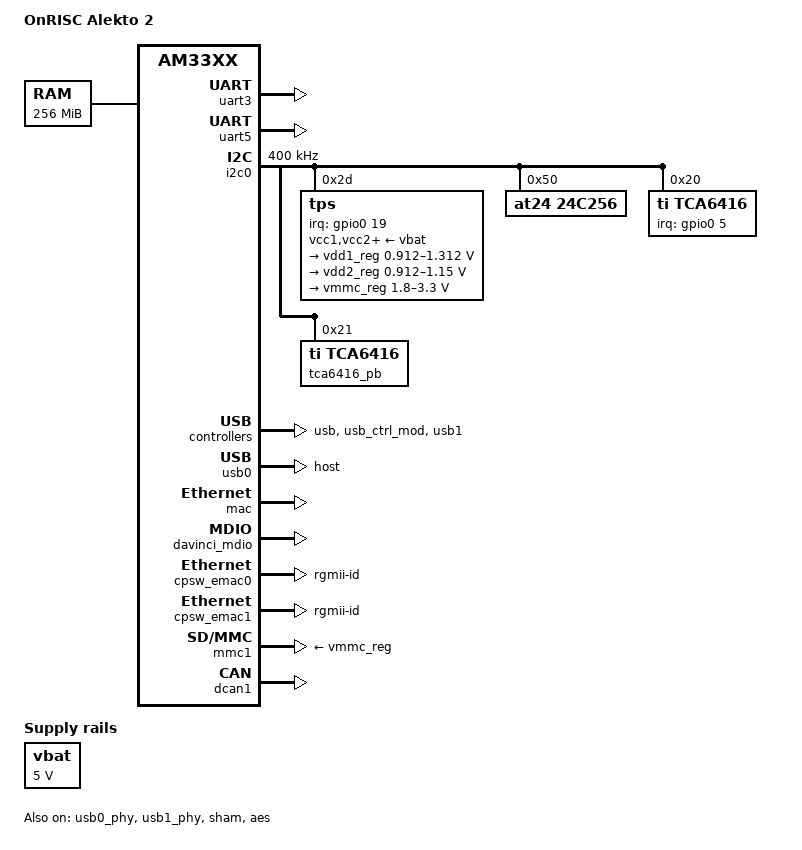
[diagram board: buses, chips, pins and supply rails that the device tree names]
/*
 * Copyright (C) 2012 Texas Instruments Incorporated - http://www.ti.com/
 *
 * This program is free software; you can redistribute it and/or modify
 * it under the terms of the GNU General Public License version 2 as
 * published by the Free Software Foundation.
 */

/*
 * OnRISC
 * http://www.vscom.de
 */

/dts-v1/;

#include "am33xx.dtsi"
#include <dt-bindings/pwm/pwm.h>

/ {
	model = "OnRISC Alekto 2";
	compatible = "vscom,onrisc", "ti,am33xx";

	cpus {
		cpu@0 {
			cpu0-supply = <&vdd1_reg>;
		};
	};

	memory {
		device_type = "memory";
		reg = <0x80000000 0x10000000>; /* 256 MB */
	};

	vbat: fixedregulator@0 {
		compatible = "regulator-fixed";
		regulator-name = "vbat";
		regulator-min-microvolt = <5000000>;
		regulator-max-microvolt = <5000000>;
		regulator-boot-on;
	};

};

&am33xx_pinmux {
        tca6416_pins: pinmux_tca6416_pins {
                pinctrl-single,pins = <
                        0x15c (PIN_INPUT_PULLUP | MUX_MODE7)      /* spi0_cs0.gpio0[5] tca6416 IRQ line */
                >;
        };

	tps65910_pins: pinmux_tps65910_pins {
		pinctrl-single,pins = <
			0x1b0 (PIN_INPUT_PULLUP | MUX_MODE7)      /* xdma_event_intr0.gpio0[19] */
		>;
	};

	i2c0_pins: pinmux_i2c0_pins {
		pinctrl-single,pins = <
			0x188 (PIN_INPUT_PULLUP | MUX_MODE0)	/* i2c0_sda.i2c0_sda */
			0x18c (PIN_INPUT_PULLUP | MUX_MODE0)	/* i2c0_scl.i2c0_scl */
		>;
	};

	i2c1_pins: pinmux_i2c1_pins {
		pinctrl-single,pins = <
			0x180 0x2b	/* uart1_rxd.i2c1_sda_mux2, INPUT | MODE3 */
			0x184 0x2b	/* uart1_txd.i2c1_scl_mux2, INPUT | MODE3 */
		>;
	};

	i2c2_pins: pinmux_i2c2_pins {
		pinctrl-single,pins = <
			0x178 0x2b	/* uart1_ctsn.i2c2_sda_mux0, INPUT | MODE3 */
			0x17c 0x2b	/* uart1_rtsn.i2c2_scl_mux0, INPUT | MODE3 */
		>;
	};

	dcan1_pins: pinmux_dcan1_pins {
		pinctrl-single,pins = <
			0x168 0x0a      /* uart0_ctsn.dcan1_tx_mux0, OUTPUT | MODE2 */
			0x16c 0x2a      /* uart0_rtsn.dcan1_rx_mux0, INPUT | MODE2 */
		>;
	};

	uart3_pins: pinmux_uart3_pins {
		pinctrl-single,pins = <
			0x160 0x29	/* spi0_cs1.uart3_rxd_mux1, INPUT | MODE1 */
			0x164 0x09	/* ecap0_in_pwm0_out.uart3_txd_mux1, OUTPUT | MODE1 */
		>;
	};

	uart5_pins: pinmux_uart5_pins {
		pinctrl-single,pins = <
			0x144 0x03	/* rmii1_ref_clk.uart5_txd_mux0, OUTPUT_PULLDOWN | MODE3 */
			0x108 0x23	/* mii1_col.uart5_rxd_mux0, INPUT_PULLDOWN | MODE3 */
			0x110 0x05	/* mii1_rx_er.uart5_rtsn_mux2, OUTPUT_PULLDOWN | MODE5 */
			0x10c 0x25	/* mii1_crs.uart5_ctsn_mux2, INPUT_PULLDOWN | MODE5 */
		>;
	};

	usb0_pins: pinmux_usb0_pins {
		pinctrl-single,pins = <
			0x21c 0x00	/* usb0_drvvbus, OUTPUT_PULLDOWN | MODE0 */
		>;
	};

	usb1_pins: pinmux_usb1_pins {
		pinctrl-single,pins = <
			0x234 0x00	/* usb1_drvvbus, OUTPUT_PULLDOWN | MODE0 */
		>;
	};

	cpsw_default: cpsw_default {
		pinctrl-single,pins = <
			/* Slave 1 */
			0x114 (PIN_OUTPUT_PULLDOWN | MUX_MODE2)	/* mii1_txen.rgmii1_tctl */
			0x118 (PIN_INPUT_PULLDOWN | MUX_MODE2)	/* mii1_rxdv.rgmii1_rctl */
			0x11c (PIN_OUTPUT_PULLDOWN | MUX_MODE2)	/* mii1_txd3.rgmii1_td3 */
			0x120 (PIN_OUTPUT_PULLDOWN | MUX_MODE2)	/* mii1_txd2.rgmii1_td2 */
			0x124 (PIN_OUTPUT_PULLDOWN | MUX_MODE2)	/* mii1_txd1.rgmii1_td1 */
			0x128 (PIN_OUTPUT_PULLDOWN | MUX_MODE2)	/* mii1_txd0.rgmii1_td0 */
			0x12c (PIN_OUTPUT_PULLDOWN | MUX_MODE2)	/* mii1_txclk.rgmii1_tclk */
			0x130 (PIN_INPUT_PULLDOWN | MUX_MODE2)	/* mii1_rxclk.rgmii1_rclk */
			0x134 (PIN_INPUT_PULLDOWN | MUX_MODE2)	/* mii1_rxd3.rgmii1_rd3 */
			0x138 (PIN_INPUT_PULLDOWN | MUX_MODE2)	/* mii1_rxd2.rgmii1_rd2 */
			0x13c (PIN_INPUT_PULLDOWN | MUX_MODE2)	/* mii1_rxd1.rgmii1_rd1 */
			0x140 (PIN_INPUT_PULLDOWN | MUX_MODE2)	/* mii1_rxd0.rgmii1_rd0 */

			/* Slave 2 */
			0x40 (PIN_OUTPUT_PULLDOWN | MUX_MODE2)	/* gpmc_a0.rgmii2_tctl */
			0x44 (PIN_INPUT_PULLDOWN | MUX_MODE2)	/* gpmc_a1.rgmii2_rctl */
			0x48 (PIN_OUTPUT_PULLDOWN | MUX_MODE2)	/* gpmc_a2.rgmii2_td3 */
			0x4c (PIN_OUTPUT_PULLDOWN | MUX_MODE2)	/* gpmc_a3.rgmii2_td2 */
			0x50 (PIN_OUTPUT_PULLDOWN | MUX_MODE2)	/* gpmc_a4.rgmii2_td1 */
			0x54 (PIN_OUTPUT_PULLDOWN | MUX_MODE2)	/* gpmc_a5.rgmii2_td0 */
			0x58 (PIN_OUTPUT_PULLDOWN | MUX_MODE2)	/* gpmc_a6.rgmii2_tclk */
			0x5c (PIN_INPUT_PULLDOWN | MUX_MODE2)	/* gpmc_a7.rgmii2_rclk */
			0x60 (PIN_INPUT_PULLDOWN | MUX_MODE2)	/* gpmc_a8.rgmii2_rd3 */
			0x64 (PIN_INPUT_PULLDOWN | MUX_MODE2)	/* gpmc_a9.rgmii2_rd2 */
			0x68 (PIN_INPUT_PULLDOWN | MUX_MODE2)	/* gpmc_a10.rgmii2_rd1 */
			0x6c (PIN_INPUT_PULLDOWN | MUX_MODE2)	/* gpmc_a11.rgmii2_rd0 */
		>;
	};

	cpsw_sleep: cpsw_sleep {
		pinctrl-single,pins = <
			/* Slave 1 reset value */
			0x114 (PIN_INPUT_PULLDOWN | MUX_MODE7)
			0x118 (PIN_INPUT_PULLDOWN | MUX_MODE7)
			0x11c (PIN_INPUT_PULLDOWN | MUX_MODE7)
			0x120 (PIN_INPUT_PULLDOWN | MUX_MODE7)
			0x124 (PIN_INPUT_PULLDOWN | MUX_MODE7)
			0x128 (PIN_INPUT_PULLDOWN | MUX_MODE7)
			0x12c (PIN_INPUT_PULLDOWN | MUX_MODE7)
			0x130 (PIN_INPUT_PULLDOWN | MUX_MODE7)
			0x134 (PIN_INPUT_PULLDOWN | MUX_MODE7)
			0x138 (PIN_INPUT_PULLDOWN | MUX_MODE7)
			0x13c (PIN_INPUT_PULLDOWN | MUX_MODE7)
			0x140 (PIN_INPUT_PULLDOWN | MUX_MODE7)

			/* Slave 2 reset value*/
			0x40 (PIN_INPUT_PULLDOWN | MUX_MODE7)
			0x44 (PIN_INPUT_PULLDOWN | MUX_MODE7)
			0x48 (PIN_INPUT_PULLDOWN | MUX_MODE7)
			0x4c (PIN_INPUT_PULLDOWN | MUX_MODE7)
			0x50 (PIN_INPUT_PULLDOWN | MUX_MODE7)
			0x54 (PIN_INPUT_PULLDOWN | MUX_MODE7)
			0x58 (PIN_INPUT_PULLDOWN | MUX_MODE7)
			0x5c (PIN_INPUT_PULLDOWN | MUX_MODE7)
			0x60 (PIN_INPUT_PULLDOWN | MUX_MODE7)
			0x64 (PIN_INPUT_PULLDOWN | MUX_MODE7)
			0x68 (PIN_INPUT_PULLDOWN | MUX_MODE7)
			0x6c (PIN_INPUT_PULLDOWN | MUX_MODE7)
		>;
	};

	davinci_mdio_default: davinci_mdio_default {
		pinctrl-single,pins = <
			/* MDIO */
			0x148 (PIN_INPUT_PULLUP |  MUX_MODE0)	/* mdio_data.mdio_data */
			0x14c (PIN_OUTPUT_PULLUP | MUX_MODE0)			/* mdio_clk.mdio_clk */
		>;
	};

	davinci_mdio_sleep: davinci_mdio_sleep {
		pinctrl-single,pins = <
			/* MDIO reset value */
			0x148 (PIN_INPUT_PULLDOWN | MUX_MODE7)
			0x14c (PIN_INPUT_PULLDOWN | MUX_MODE7)
		>;
	};

};

&uart3 {
	pinctrl-names = "default";
	pinctrl-0 = <&uart3_pins>;

	status = "okay";
};

&uart5 {
	pinctrl-names = "default";
	pinctrl-0 = <&uart5_pins>;

	status = "okay";
};

&i2c0 {
	pinctrl-names = "default";
	pinctrl-0 = <&i2c0_pins>;

	status = "okay";
	clock-frequency = <400000>;

	tps: tps@2d {
		reg = <0x2d>;
		gpio-controller;
		#gpio-cells = <2>;
		interrupt-parent = <&gpio0>;
		interrupts = <19 GPIO_ACTIVE_LOW>;
		pinctrl-names = "default";
		pinctrl-0 = <&tps65910_pins>;
	};

	at24@50 {
		compatible = "at24,24c256";
		pagesize = <64>;
		reg = <0x50>;
	};

	tca6416: gpio@20 {
		compatible = "ti,tca6416";
		reg = <0x20>;
		gpio-controller;
		#gpio-cells = <2>;
		interrupt-parent = <&gpio0>;
		interrupts = <5 GPIO_ACTIVE_LOW>;
		pinctrl-names = "default";
		pinctrl-0 = <&tca6416_pins>;
	};

	tca6416_pb: gpio@21 {
		compatible = "ti,tca6416";
		reg = <0x21>;
		gpio-controller;
		#gpio-cells = <2>;
	};
};

&cppi41dma  {
	status = "okay";
};

&usb {
	status = "okay";
};

&usb_ctrl_mod {
	status = "okay";
};

&usb0_phy {
	status = "okay";
};

&usb1_phy {
	status = "okay";
};

&usb0 {
	status = "okay";
	dr_mode = "host";
};

&usb1 {
	status = "okay";
};

#include "tps65910.dtsi"

&tps {
	vcc1-supply = <&vbat>;
	vcc2-supply = <&vbat>;
	vcc3-supply = <&vbat>;
	vcc4-supply = <&vbat>;
	vcc5-supply = <&vbat>;
	vcc6-supply = <&vbat>;
	vcc7-supply = <&vbat>;
	vccio-supply = <&vbat>;

	ti,en-ck32k-xtal = <1>;

	regulators {
		vrtc_reg: regulator@0 {
			regulator-always-on;
		};

		vio_reg: regulator@1 {
			regulator-always-on;
		};

		vdd1_reg: regulator@2 {
			/* VDD_MPU voltage limits 0.95V - 1.26V with +/-4% tolerance */
			regulator-name = "vdd_mpu";
			regulator-min-microvolt = <912500>;
			regulator-max-microvolt = <1312500>;
			regulator-boot-on;
			regulator-always-on;
		};

		vdd2_reg: regulator@3 {
			/* VDD_CORE voltage limits 0.95V - 1.1V with +/-4% tolerance */
			regulator-name = "vdd_core";
			regulator-min-microvolt = <912500>;
			regulator-max-microvolt = <1150000>;
			regulator-boot-on;
			regulator-always-on;
		};

		vdd3_reg: regulator@4 {
			regulator-always-on;
		};

		vdig1_reg: regulator@5 {
			regulator-always-on;
		};

		vdig2_reg: regulator@6 {
			regulator-always-on;
		};

		vpll_reg: regulator@7 {
			regulator-always-on;
		};

		vdac_reg: regulator@8 {
			regulator-always-on;
		};

		vaux1_reg: regulator@9 {
			regulator-always-on;
		};

		vaux2_reg: regulator@10 {
			regulator-always-on;
		};

		vaux33_reg: regulator@11 {
			regulator-always-on;
		};

		vmmc_reg: regulator@12 {
			regulator-min-microvolt = <1800000>;
			regulator-max-microvolt = <3300000>;
			regulator-always-on;
		};
	};
};

&mac {
	pinctrl-names = "default", "sleep";
	pinctrl-0 = <&cpsw_default>;
	pinctrl-1 = <&cpsw_sleep>;
	dual_emac = <1>;

	status = "okay";
};

&davinci_mdio {
	pinctrl-names = "default", "sleep";
	pinctrl-0 = <&davinci_mdio_default>;
	pinctrl-1 = <&davinci_mdio_sleep>;

	status = "okay";
};

&cpsw_emac0 {
	phy_id = <&davinci_mdio>, <0>;
	phy-mode = "rgmii-id";
	dual_emac_res_vlan = <1>;
};

&cpsw_emac1 {
	phy_id = <&davinci_mdio>, <1>;
	phy-mode = "rgmii-id";
	dual_emac_res_vlan = <2>;
};

&mmc1 {
	vmmc-supply = <&vmmc_reg>;
	status = "okay";
};

&sham {
	status = "okay";
};

&aes {
	status = "okay";
};

&gpio0 {
	ti,no-reset-on-init;
};

&dcan1 {
	pinctrl-names = "default";
	pinctrl-0 = <&dcan1_pins>;

	status = "okay";
};
